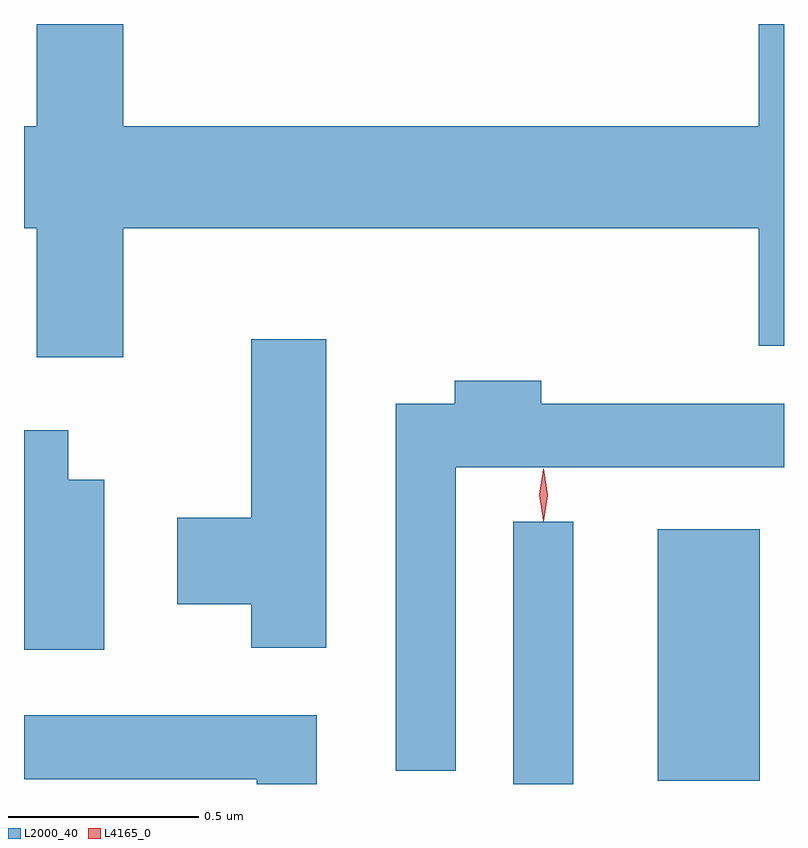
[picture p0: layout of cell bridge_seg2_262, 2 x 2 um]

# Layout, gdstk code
import gdstk
lib = gdstk.Library(unit=1e-6, precision=1e-09)
def R(c, l, rs):  # rectangles x0, y0, x1, y1
    for r in rs: c.add(gdstk.rectangle(r[:2], r[2:], *l))
def P(c, l, *ps):  # polygons
    for p in ps: c.add(gdstk.Polygon(p, *l))
L2000_40 = (2000, 40)
L4165_0 = (4165, 0)

bridge_seg2_262 = lib.new_cell('bridge_seg2_262')
R(bridge_seg2_262, L2000_40, [(493.116,1080.153,493.274,1080.843), (493.496,1080.161,493.764,1080.824)])
P(bridge_seg2_262, L2000_40, [(492.089,1081.616),(493.761,1081.616),(493.761,1081.306),(493.828,1081.306),(493.828,1082.153),(493.761,1082.153),(493.761,1081.884),(492.089,1081.884),(492.089,1082.153),(491.861,1082.153),(491.861,1081.884),(491.828,1081.884),(491.828,1081.616),(491.861,1081.616),(491.861,1081.276),(492.089,1081.276)],
  [(492.624,1081.324),(492.426,1081.324),(492.426,1080.854),(492.231,1080.854),(492.231,1080.626),(492.426,1080.626),(492.426,1080.511),(492.624,1080.511)],
  [(492.964,1080.986),(493.828,1080.986),(493.828,1081.154),(493.189,1081.154),(493.189,1081.214),(492.961,1081.214),(492.961,1081.154),(492.806,1081.154),(492.806,1080.188),(492.964,1080.188)],
  [(492.039,1080.954),(491.944,1080.954),(491.944,1081.084),(491.828,1081.084),(491.828,1080.506),(492.039,1080.506)],
  [(492.599,1080.334),(491.828,1080.334),(491.828,1080.166),(492.441,1080.166),(492.441,1080.153),(492.599,1080.153)])
P(bridge_seg2_262, L4165_0, [(493.195,1080.844),(493.186,1080.913),(493.195,1080.982),(493.196,1080.983),(493.196,1080.982),(493.206,1080.913),(493.196,1080.844),(493.196,1080.844)],
  [(493.194,1080.847),(493.194,1080.848),(493.184,1080.914),(493.194,1080.98),(493.194,1080.981),(493.195,1080.98),(493.204,1080.914),(493.195,1080.848)])

lib.write_gds('bridge_seg2_262.gds')
